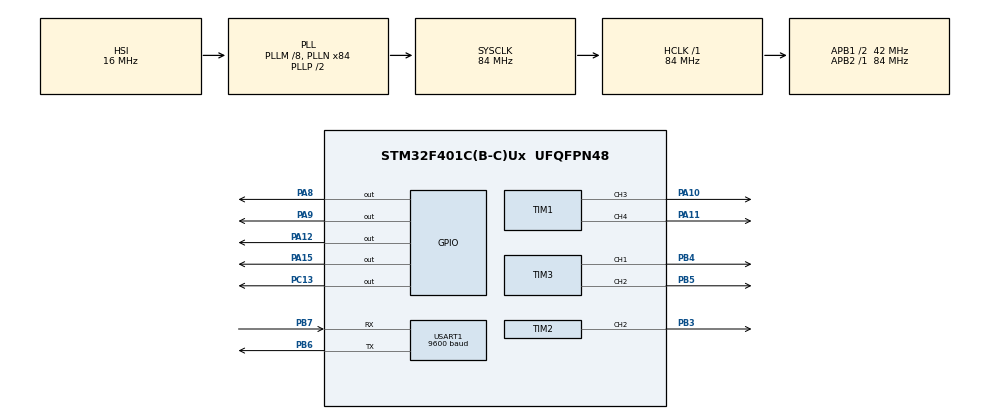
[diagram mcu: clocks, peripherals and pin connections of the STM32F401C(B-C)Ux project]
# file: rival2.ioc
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Mcu.Family=STM32F4
Mcu.Name=STM32F401C(B-C)Ux
Mcu.Package=UFQFPN48
NVIC.PriorityGroup=NVIC_PRIORITYGROUP_4
NVIC.USART1_IRQn=true\:0\:0\:false\:false\:true\:true\:true\:true
PA10.Signal=S_TIM1_CH3
PA11.Signal=S_TIM1_CH4
PA12.Signal=GPIO_Output
PA15.Signal=GPIO_Output
PA8.Signal=GPIO_Output
PA9.Signal=GPIO_Output
PB3.Signal=S_TIM2_CH2
PB4.Signal=S_TIM3_CH1
PB5.Signal=S_TIM3_CH2
PB6.Mode=Asynchronous
PB6.Signal=USART1_TX
PB7.Mode=Asynchronous
PB7.Signal=USART1_RX
PC13-ANTI_TAMP.Signal=GPIO_Output
ProjectManager.HeapSize=0x200
ProjectManager.StackSize=0x400
ProjectManager.TargetToolchain=STM32CubeIDE
RCC.48MHZClocksFreq_Value=42000000
RCC.AHBFreq_Value=84000000
RCC.APB1CLKDivider=RCC_HCLK_DIV2
RCC.APB1Freq_Value=42000000
RCC.APB1TimFreq_Value=84000000
RCC.APB2Freq_Value=84000000
RCC.APB2TimFreq_Value=84000000
RCC.CortexFreq_Value=84000000
RCC.HCLKFreq_Value=84000000
RCC.HSE_VALUE=25000000
RCC.HSI_VALUE=16000000
RCC.LSE_VALUE=32768
RCC.PLLM=8
RCC.PLLN=84
RCC.SYSCLKFreq_VALUE=84000000
RCC.SYSCLKSource=RCC_SYSCLKSOURCE_PLLCLK
RCC.VCOOutputFreq_Value=168000000
SH.S_TIM1_CH3.0=TIM1_CH3,PWM Generation3 CH3
SH.S_TIM1_CH4.0=TIM1_CH4,PWM Generation4 CH4
SH.S_TIM2_CH2.0=TIM2_CH2,PWM Generation2 CH2
SH.S_TIM3_CH1.0=TIM3_CH1,PWM Generation1 CH1
SH.S_TIM3_CH2.0=TIM3_CH2,PWM Generation2 CH2
TIM1.Channel-PWM\ Generation3\ CH3=TIM_CHANNEL_3
TIM1.Channel-PWM\ Generation4\ CH4=TIM_CHANNEL_4
TIM2.Channel-PWM\ Generation2\ CH2=TIM_CHANNEL_2
TIM2.Period=2000
TIM2.Prescaler=84
TIM3.Channel-PWM\ Generation1\ CH1=TIM_CHANNEL_1
TIM3.Channel-PWM\ Generation2\ CH2=TIM_CHANNEL_2
USART1.BaudRate=9600
USART1.VirtualMode=VM_ASYNC
VP_TIM1_VS_ClockSourceINT.Mode=Internal
VP_TIM2_VS_ClockSourceINT.Mode=Internal
VP_TIM3_VS_ClockSourceINT.Mode=Internal
board=custom

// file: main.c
/* USER CODE BEGIN Header */
/**
  ******************************************************************************
  * @file           : main.c
  * @brief          : Main program body
  ******************************************************************************
  * @attention
  *
  * Copyright (c) 2025 STMicroelectronics.
  * All rights reserved.
  *
  * This software is licensed under terms that can be found in the LICENSE file
  * in the root directory of this software component.
  * If no LICENSE file comes with this software, it is provided AS-IS.
  *
  ******************************************************************************
  */
/* USER CODE END Header */
#include "main.h"

/* USER CODE BEGIN Includes */
#include "math.h"
#include <stdlib.h>
/* USER CODE END Includes */

TIM_HandleTypeDef htim1;
TIM_HandleTypeDef htim2;
TIM_HandleTypeDef htim3;

UART_HandleTypeDef huart1;

/* USER CODE BEGIN PV */
// PWM handles
extern TIM_HandleTypeDef htim1;

// Define motor control pins
#define R_IN1_Pin GPIO_PIN_15
#define R_IN1_GPIO_Port GPIOA
#define R_IN2_Pin GPIO_PIN_12
#define R_IN2_GPIO_Port GPIOA

#define L_IN1_Pin GPIO_PIN_9
#define L_IN1_GPIO_Port GPIOA
#define L_IN2_Pin GPIO_PIN_8
#define L_IN2_GPIO_Port GPIOA

uint8_t rxData;
int motorSpeed = 500; // PWM duty (0–1000 scale)
/* USER CODE END PV */

void SystemClock_Config(void);
static void MX_GPIO_Init(void);
static void MX_USART1_UART_Init(void);
static void MX_TIM2_Init(void);
static void MX_TIM3_Init(void);
static void MX_TIM1_Init(void);
/* USER CODE BEGIN PFP */
static void Motor_Init(void);
void rotateMotor(int rightMotorSpeed, int leftMotorSpeed);
void Servo_SetAngle(TIM_HandleTypeDef *htim, uint32_t Channel, float angle);
static void MotorA_Forward(void);
static void MotorA_Backward(void);
static void MotorA_Stop(void);
/* USER CODE END PFP */

int main(void)
{

  /* MCU Configuration--------------------------------------------------------*/

  /* Reset of all peripherals, Initializes the Flash interface and the Systick. */
  HAL_Init();

  /* Configure the system clock */
  SystemClock_Config();

  /* Initialize all configured peripherals */
  MX_GPIO_Init();
  MX_USART1_UART_Init();
  MX_TIM2_Init();
  MX_TIM3_Init();
  MX_TIM1_Init();
  /* USER CODE BEGIN 2 */
  Motor_Init();
	HAL_UART_Receive_IT(&huart1, &rxData, 1);

	HAL_TIM_PWM_Start(&htim2, TIM_CHANNEL_1);
	HAL_TIM_PWM_Start(&htim2, TIM_CHANNEL_2);
	HAL_TIM_PWM_Start(&htim3, TIM_CHANNEL_1);
	HAL_TIM_PWM_Start(&htim3, TIM_CHANNEL_2);
  /* USER CODE END 2 */

  /* Infinite loop */
  while (1)
  {

  }
}

void SystemClock_Config(void)
{
  RCC_OscInitTypeDef RCC_OscInitStruct = {0};
  RCC_ClkInitTypeDef RCC_ClkInitStruct = {0};

  /** Configure the main internal regulator output voltage
  */
  __HAL_RCC_PWR_CLK_ENABLE();
  __HAL_PWR_VOLTAGESCALING_CONFIG(PWR_REGULATOR_VOLTAGE_SCALE2);

  /** Initializes the RCC Oscillators according to the specified parameters
  * in the RCC_OscInitTypeDef structure.
  */
  RCC_OscInitStruct.OscillatorType = RCC_OSCILLATORTYPE_HSI;
  RCC_OscInitStruct.HSIState = RCC_HSI_ON;
  RCC_OscInitStruct.HSICalibrationValue = RCC_HSICALIBRATION_DEFAULT;
  RCC_OscInitStruct.PLL.PLLState = RCC_PLL_ON;
  RCC_OscInitStruct.PLL.PLLSource = RCC_PLLSOURCE_HSI;
  RCC_OscInitStruct.PLL.PLLM = 8;
  RCC_OscInitStruct.PLL.PLLN = 84;
  RCC_OscInitStruct.PLL.PLLP = RCC_PLLP_DIV2;
  RCC_OscInitStruct.PLL.PLLQ = 4;
  if (HAL_RCC_OscConfig(&RCC_OscInitStruct) != HAL_OK)
  {
    Error_Handler();
  }

  /** Initializes the CPU, AHB and APB buses clocks
  */
  RCC_ClkInitStruct.ClockType = RCC_CLOCKTYPE_HCLK|RCC_CLOCKTYPE_SYSCLK
                              |RCC_CLOCKTYPE_PCLK1|RCC_CLOCKTYPE_PCLK2;
  RCC_ClkInitStruct.SYSCLKSource = RCC_SYSCLKSOURCE_PLLCLK;
  RCC_ClkInitStruct.AHBCLKDivider = RCC_SYSCLK_DIV1;
  RCC_ClkInitStruct.APB1CLKDivider = RCC_HCLK_DIV2;
  RCC_ClkInitStruct.APB2CLKDivider = RCC_HCLK_DIV1;

  if (HAL_RCC_ClockConfig(&RCC_ClkInitStruct, FLASH_LATENCY_2) != HAL_OK)
  {
    Error_Handler();
  }
}

static void MX_TIM1_Init(void)
{

  TIM_ClockConfigTypeDef sClockSourceConfig = {0};
  TIM_MasterConfigTypeDef sMasterConfig = {0};
  TIM_OC_InitTypeDef sConfigOC = {0};
  TIM_BreakDeadTimeConfigTypeDef sBreakDeadTimeConfig = {0};

  htim1.Instance = TIM1;
  htim1.Init.Prescaler = 0;
  htim1.Init.CounterMode = TIM_COUNTERMODE_UP;
  htim1.Init.Period = 65535;
  htim1.Init.ClockDivision = TIM_CLOCKDIVISION_DIV1;
  htim1.Init.RepetitionCounter = 0;
  htim1.Init.AutoReloadPreload = TIM_AUTORELOAD_PRELOAD_DISABLE;
  if (HAL_TIM_Base_Init(&htim1) != HAL_OK)
  {
    Error_Handler();
  }
  sClockSourceConfig.ClockSource = TIM_CLOCKSOURCE_INTERNAL;
  if (HAL_TIM_ConfigClockSource(&htim1, &sClockSourceConfig) != HAL_OK)
  {
    Error_Handler();
  }
  if (HAL_TIM_PWM_Init(&htim1) != HAL_OK)
  {
    Error_Handler();
  }
  sMasterConfig.MasterOutputTrigger = TIM_TRGO_RESET;
  sMasterConfig.MasterSlaveMode = TIM_MASTERSLAVEMODE_DISABLE;
  if (HAL_TIMEx_MasterConfigSynchronization(&htim1, &sMasterConfig) != HAL_OK)
  {
    Error_Handler();
  }
  sConfigOC.OCMode = TIM_OCMODE_PWM1;
  sConfigOC.Pulse = 0;
  sConfigOC.OCPolarity = TIM_OCPOLARITY_HIGH;
  sConfigOC.OCNPolarity = TIM_OCNPOLARITY_HIGH;
  sConfigOC.OCFastMode = TIM_OCFAST_DISABLE;
  sConfigOC.OCIdleState = TIM_OCIDLESTATE_RESET;
  sConfigOC.OCNIdleState = TIM_OCNIDLESTATE_RESET;
  if (HAL_TIM_PWM_ConfigChannel(&htim1, &sConfigOC, TIM_CHANNEL_3) != HAL_OK)
  {
    Error_Handler();
  }
  if (HAL_TIM_PWM_ConfigChannel(&htim1, &sConfigOC, TIM_CHANNEL_4) != HAL_OK)
  {
    Error_Handler();
  }
  sBreakDeadTimeConfig.OffStateRunMode = TIM_OSSR_DISABLE;
  sBreakDeadTimeConfig.OffStateIDLEMode = TIM_OSSI_DISABLE;
  sBreakDeadTimeConfig.LockLevel = TIM_LOCKLEVEL_OFF;
  sBreakDeadTimeConfig.DeadTime = 0;
  sBreakDeadTimeConfig.BreakState = TIM_BREAK_DISABLE;
  sBreakDeadTimeConfig.BreakPolarity = TIM_BREAKPOLARITY_HIGH;
  sBreakDeadTimeConfig.AutomaticOutput = TIM_AUTOMATICOUTPUT_DISABLE;
  if (HAL_TIMEx_ConfigBreakDeadTime(&htim1, &sBreakDeadTimeConfig) != HAL_OK)
  {
    Error_Handler();
  }
  HAL_TIM_MspPostInit(&htim1);

}

static void MX_TIM2_Init(void)
{

  TIM_ClockConfigTypeDef sClockSourceConfig = {0};
  TIM_MasterConfigTypeDef sMasterConfig = {0};
  TIM_OC_InitTypeDef sConfigOC = {0};

  htim2.Instance = TIM2;
  htim2.Init.Prescaler = 84;
  htim2.Init.CounterMode = TIM_COUNTERMODE_UP;
  htim2.Init.Period = 2000;
  htim2.Init.ClockDivision = TIM_CLOCKDIVISION_DIV1;
  htim2.Init.AutoReloadPreload = TIM_AUTORELOAD_PRELOAD_DISABLE;
  if (HAL_TIM_Base_Init(&htim2) != HAL_OK)
  {
    Error_Handler();
  }
  sClockSourceConfig.ClockSource = TIM_CLOCKSOURCE_INTERNAL;
  if (HAL_TIM_ConfigClockSource(&htim2, &sClockSourceConfig) != HAL_OK)
  {
    Error_Handler();
  }
  if (HAL_TIM_PWM_Init(&htim2) != HAL_OK)
  {
    Error_Handler();
  }
  sMasterConfig.MasterOutputTrigger = TIM_TRGO_RESET;
  sMasterConfig.MasterSlaveMode = TIM_MASTERSLAVEMODE_DISABLE;
  if (HAL_TIMEx_MasterConfigSynchronization(&htim2, &sMasterConfig) != HAL_OK)
  {
    Error_Handler();
  }
  sConfigOC.OCMode = TIM_OCMODE_PWM1;
  sConfigOC.Pulse = 0;
  sConfigOC.OCPolarity = TIM_OCPOLARITY_HIGH;
  sConfigOC.OCFastMode = TIM_OCFAST_DISABLE;
  if (HAL_TIM_PWM_ConfigChannel(&htim2, &sConfigOC, TIM_CHANNEL_2) != HAL_OK)
  {
    Error_Handler();
  }
  HAL_TIM_MspPostInit(&htim2);

}

static void MX_TIM3_Init(void)
{

  TIM_ClockConfigTypeDef sClockSourceConfig = {0};
  TIM_MasterConfigTypeDef sMasterConfig = {0};
  TIM_OC_InitTypeDef sConfigOC = {0};

  htim3.Instance = TIM3;
  htim3.Init.Prescaler = 0;
  htim3.Init.CounterMode = TIM_COUNTERMODE_UP;
  htim3.Init.Period = 65535;
  htim3.Init.ClockDivision = TIM_CLOCKDIVISION_DIV1;
  htim3.Init.AutoReloadPreload = TIM_AUTORELOAD_PRELOAD_DISABLE;
  if (HAL_TIM_Base_Init(&htim3) != HAL_OK)
  {
    Error_Handler();
  }
  sClockSourceConfig.ClockSource = TIM_CLOCKSOURCE_INTERNAL;
  if (HAL_TIM_ConfigClockSource(&htim3, &sClockSourceConfig) != HAL_OK)
  {
    Error_Handler();
  }
  if (HAL_TIM_PWM_Init(&htim3) != HAL_OK)
  {
    Error_Handler();
  }
  sMasterConfig.MasterOutputTrigger = TIM_TRGO_RESET;
  sMasterConfig.MasterSlaveMode = TIM_MASTERSLAVEMODE_DISABLE;
  if (HAL_TIMEx_MasterConfigSynchronization(&htim3, &sMasterConfig) != HAL_OK)
  {
    Error_Handler();
  }
  sConfigOC.OCMode = TIM_OCMODE_PWM1;
  sConfigOC.Pulse = 0;
  sConfigOC.OCPolarity = TIM_OCPOLARITY_HIGH;
  sConfigOC.OCFastMode = TIM_OCFAST_DISABLE;
  if (HAL_TIM_PWM_ConfigChannel(&htim3, &sConfigOC, TIM_CHANNEL_1) != HAL_OK)
  {
    Error_Handler();
  }
  if (HAL_TIM_PWM_ConfigChannel(&htim3, &sConfigOC, TIM_CHANNEL_2) != HAL_OK)
  {
    Error_Handler();
  }
  HAL_TIM_MspPostInit(&htim3);

}

static void MX_USART1_UART_Init(void)
{

  huart1.Instance = USART1;
  huart1.Init.BaudRate = 9600;
  huart1.Init.WordLength = UART_WORDLENGTH_8B;
  huart1.Init.StopBits = UART_STOPBITS_1;
  huart1.Init.Parity = UART_PARITY_NONE;
  huart1.Init.Mode = UART_MODE_TX_RX;
  huart1.Init.HwFlowCtl = UART_HWCONTROL_NONE;
  huart1.Init.OverSampling = UART_OVERSAMPLING_16;
  if (HAL_UART_Init(&huart1) != HAL_OK)
  {
    Error_Handler();
  }

}

static void MX_GPIO_Init(void)
{
  GPIO_InitTypeDef GPIO_InitStruct = {0};

  /* GPIO Ports Clock Enable */
  __HAL_RCC_GPIOC_CLK_ENABLE();
  __HAL_RCC_GPIOA_CLK_ENABLE();
  __HAL_RCC_GPIOB_CLK_ENABLE();

  /*Configure GPIO pin Output Level */
  HAL_GPIO_WritePin(GPIOC, GPIO_PIN_13, GPIO_PIN_RESET);

  /*Configure GPIO pin Output Level */
  HAL_GPIO_WritePin(GPIOA, GPIO_PIN_8|GPIO_PIN_9|GPIO_PIN_12|GPIO_PIN_15, GPIO_PIN_RESET);

  /*Configure GPIO pin : PC13 */
  GPIO_InitStruct.Pin = GPIO_PIN_13;
  GPIO_InitStruct.Mode = GPIO_MODE_OUTPUT_PP;
  GPIO_InitStruct.Pull = GPIO_NOPULL;
  GPIO_InitStruct.Speed = GPIO_SPEED_FREQ_LOW;
  HAL_GPIO_Init(GPIOC, &GPIO_InitStruct);

  /*Configure GPIO pins : PA8 PA9 PA12 PA15 */
  GPIO_InitStruct.Pin = GPIO_PIN_8|GPIO_PIN_9|GPIO_PIN_12|GPIO_PIN_15;
  GPIO_InitStruct.Mode = GPIO_MODE_OUTPUT_PP;
  GPIO_InitStruct.Pull = GPIO_NOPULL;
  GPIO_InitStruct.Speed = GPIO_SPEED_FREQ_LOW;
  HAL_GPIO_Init(GPIOA, &GPIO_InitStruct);

}

/* USER CODE BEGIN 4 */
void HAL_UART_RxCpltCallback(UART_HandleTypeDef *huart)
{
  if (huart->Instance == USART1)
  {
    switch (rxData)
    {
      case 'F': // Forward
        rotateMotor(motorSpeed, motorSpeed);
        break;

      case 'B': // Backward
        rotateMotor(-motorSpeed, -motorSpeed);
        break;

      case 'L': // Turn Left
        rotateMotor(motorSpeed, -motorSpeed);
        break;

      case 'R': // Turn Right
        rotateMotor(-motorSpeed, motorSpeed);
        break;

      case 'S': // Stop
        rotateMotor(0, 0);
        break;

      case '1':
        Servo_SetAngle(&htim2, TIM_CHANNEL_2, 0);
        break;
      case '2':
        Servo_SetAngle(&htim2, TIM_CHANNEL_2, 180);
        break;
      case '3':
        Servo_SetAngle(&htim3, TIM_CHANNEL_1, 45);
        break;
      case '4':
        Servo_SetAngle(&htim3, TIM_CHANNEL_2, 135);
        break;

      default:
        rotateMotor(0, 0);
        break;
    }
    HAL_GPIO_WritePin(GPIOC, GPIO_PIN_13, GPIO_PIN_SET); // LED OFF (active low)
    HAL_UART_Receive_IT(&huart1, &rxData, 1); // Re-enable UART interrupt
  } else {
	 HAL_GPIO_WritePin(GPIOC, GPIO_PIN_13, GPIO_PIN_RESET); // LED OFF (active low)
  }
}

void Motor_Init(void)
{
  // Start PWM channels
  HAL_TIM_PWM_Start(&htim1, TIM_CHANNEL_3); // Left motor (PA10)
  HAL_TIM_PWM_Start(&htim1, TIM_CHANNEL_4); // Right motor (PA11)
}

void Servo_SetAngle(TIM_HandleTypeDef *htim, uint32_t Channel, float angle)
{
//  if (angle < 0) angle = 0;
//  if (angle > 180) angle = 180;

  // Convert angle (0–180) to pulse width (1–2 ms)
  float pulse_length = 210 + (angle *(1050-210)/180); // 1–2 ms range

  // Assuming 50 Hz PWM (Period = 20 ms)
//  uint32_t period_ticks = __HAL_TIM_GET_AUTORELOAD(htim) + 1;
//  uint32_t compare = (uint32_t)((pulse_length_ms / 20.0f) * period_ticks);

  __HAL_TIM_SET_COMPARE(htim, Channel, pulse_length);
}

void rotateMotor(int rightMotorSpeed, int leftMotorSpeed)
{
  // Right motor direction
  if (rightMotorSpeed < 0) {
    HAL_GPIO_WritePin(R_IN1_GPIO_Port, R_IN1_Pin, GPIO_PIN_RESET);
    HAL_GPIO_WritePin(R_IN2_GPIO_Port, R_IN2_Pin, GPIO_PIN_SET);
  } else {
    HAL_GPIO_WritePin(R_IN1_GPIO_Port, R_IN1_Pin, GPIO_PIN_SET);
    HAL_GPIO_WritePin(R_IN2_GPIO_Port, R_IN2_Pin, GPIO_PIN_RESET);
  }

  // Left motor direction
  if (leftMotorSpeed < 0) {
    HAL_GPIO_WritePin(L_IN1_GPIO_Port, L_IN1_Pin, GPIO_PIN_RESET);
    HAL_GPIO_WritePin(L_IN2_GPIO_Port, L_IN2_Pin, GPIO_PIN_SET);
  } else {
    HAL_GPIO_WritePin(L_IN1_GPIO_Port, L_IN1_Pin, GPIO_PIN_SET);
    HAL_GPIO_WritePin(L_IN2_GPIO_Port, L_IN2_Pin, GPIO_PIN_RESET);
  }

  // PWM duty (absolute value)
  __HAL_TIM_SET_COMPARE(&htim1, TIM_CHANNEL_3, abs(rightMotorSpeed));
  __HAL_TIM_SET_COMPARE(&htim1, TIM_CHANNEL_4, abs(leftMotorSpeed));
}

void MotorA_Forward(void) {
    HAL_GPIO_WritePin(R_IN1_GPIO_Port, R_IN1_Pin, GPIO_PIN_SET);   // IN1 = 1
    HAL_GPIO_WritePin(R_IN2_GPIO_Port, R_IN2_Pin, GPIO_PIN_RESET); // IN2 = 0
}

void MotorA_Backward(void) {
    HAL_GPIO_WritePin(R_IN1_GPIO_Port, R_IN1_Pin, GPIO_PIN_RESET); // IN1 = 0
    HAL_GPIO_WritePin(R_IN2_GPIO_Port, R_IN2_Pin, GPIO_PIN_SET);   // IN2 = 1
}

void MotorA_Stop(void) {
    HAL_GPIO_WritePin(GPIOA, GPIO_PIN_0, GPIO_PIN_RESET);
    HAL_GPIO_WritePin(GPIOA, GPIO_PIN_1, GPIO_PIN_RESET);
}
/* USER CODE END 4 */

void Error_Handler(void)
{
  __disable_irq();
  while (1)
  {
  }
}
